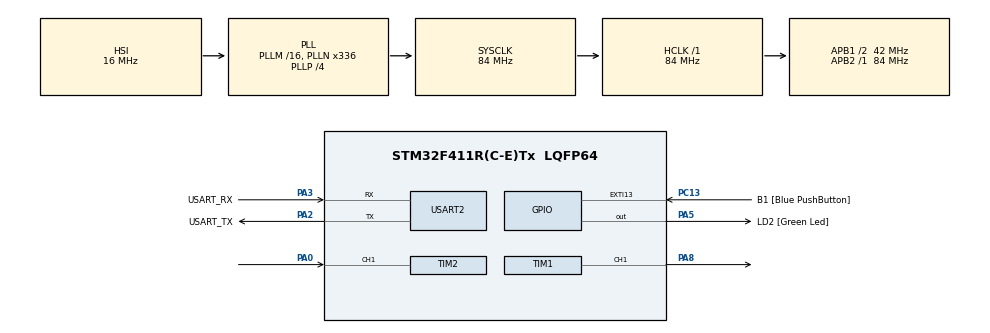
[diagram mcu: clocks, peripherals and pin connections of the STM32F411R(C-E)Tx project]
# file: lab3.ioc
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Dma.Request0=TIM2_CH1
Dma.TIM2_CH1.0.Direction=DMA_PERIPH_TO_MEMORY
Dma.TIM2_CH1.0.FIFOMode=DMA_FIFOMODE_DISABLE
Dma.TIM2_CH1.0.Instance=DMA1_Stream5
Dma.TIM2_CH1.0.MemDataAlignment=DMA_MDATAALIGN_WORD
Dma.TIM2_CH1.0.MemInc=DMA_MINC_ENABLE
Dma.TIM2_CH1.0.Mode=DMA_CIRCULAR
Dma.TIM2_CH1.0.PeriphDataAlignment=DMA_PDATAALIGN_WORD
Dma.TIM2_CH1.0.PeriphInc=DMA_PINC_DISABLE
Dma.TIM2_CH1.0.Priority=DMA_PRIORITY_LOW
Mcu.Family=STM32F4
Mcu.Name=STM32F411R(C-E)Tx
Mcu.Package=LQFP64
NVIC.DMA1_Stream5_IRQn=true\:0\:0\:false\:false\:true\:false\:true\:true
NVIC.PriorityGroup=NVIC_PRIORITYGROUP_0
PA0-WKUP.Signal=S_TIM2_CH1_ETR
PA13.GPIO_Label=TMS
PA13.Mode=Serial_Wire
PA13.Signal=SYS_JTMS-SWDIO
PA14.GPIO_Label=TCK
PA14.Mode=Serial_Wire
PA14.Signal=SYS_JTCK-SWCLK
PA2.GPIO_Label=USART_TX
PA2.Mode=Asynchronous
PA2.Signal=USART2_TX
PA3.GPIO_Label=USART_RX
PA3.Mode=Asynchronous
PA3.Signal=USART2_RX
PA5.GPIO_Label=LD2 [Green Led]
PA5.Signal=GPIO_Output
PA8.Signal=S_TIM1_CH1
PB3.GPIO_Label=SWO
PB3.Signal=SYS_JTDO-SWO
PC13-ANTI_TAMP.GPIO_Label=B1 [Blue PushButton]
PC13-ANTI_TAMP.GPIO_ModeDefaultEXTI=GPIO_MODE_IT_FALLING
PC13-ANTI_TAMP.Signal=GPXTI13
PC14-OSC32_IN.Mode=LSE-External-Oscillator
PC14-OSC32_IN.Signal=RCC_OSC32_IN
PC15-OSC32_OUT.Mode=LSE-External-Oscillator
PC15-OSC32_OUT.Signal=RCC_OSC32_OUT
PH0\ -\ OSC_IN.Mode=HSE-External-Clock-Source
PH0\ -\ OSC_IN.Signal=RCC_OSC_IN
PH1\ -\ OSC_OUT.Mode=HSE-External-Clock-Source
PH1\ -\ OSC_OUT.Signal=RCC_OSC_OUT
ProjectManager.HeapSize=0x200
ProjectManager.StackSize=0x400
ProjectManager.TargetToolchain=STM32CubeIDE
RCC.48MHZClocksFreq_Value=84000000
RCC.AHBFreq_Value=84000000
RCC.APB1CLKDivider=RCC_HCLK_DIV2
RCC.APB1Freq_Value=42000000
RCC.APB1TimFreq_Value=84000000
RCC.APB2Freq_Value=84000000
RCC.APB2TimFreq_Value=84000000
RCC.CortexFreq_Value=84000000
RCC.FLatency-AdvancedSettings=FLASH_LATENCY_2
RCC.HCLKFreq_Value=84000000
RCC.HSE_VALUE=8000000
RCC.HSI_VALUE=16000000
RCC.PLLN=336
RCC.PLLP=RCC_PLLP_DIV4
RCC.SYSCLKFreq_VALUE=84000000
RCC.SYSCLKSource=RCC_SYSCLKSOURCE_PLLCLK
RCC.VCOOutputFreq_Value=336000000
SH.S_TIM1_CH1.0=TIM1_CH1,PWM Generation1 CH1
SH.S_TIM2_CH1_ETR.0=TIM2_CH1,Input_Capture1_from_TI1
TIM1.Channel-PWM\ Generation1\ CH1=TIM_CHANNEL_1
TIM1.Period=999
TIM1.Prescaler=83
TIM1.Pulse-PWM\ Generation1\ CH1=0
TIM2.Channel-Input_Capture1_from_TI1=TIM_CHANNEL_1
TIM2.ICFilter_CH1=10
TIM2.Prescaler=83
USART2.VirtualMode=VM_ASYNC
VP_TIM1_VS_ClockSourceINT.Mode=Internal
VP_TIM2_VS_ClockSourceINT.Mode=Internal
board=NUCLEO-F411RE

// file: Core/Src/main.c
/* USER CODE BEGIN Header */
/**
  ******************************************************************************
  * @file           : main.c
  * @brief          : Main program body
  ******************************************************************************
  * @attention
  *
  * Copyright (c) 2023 STMicroelectronics.
  * All rights reserved.
  *
  * This software is licensed under terms that can be found in the LICENSE file
  * in the root directory of this software component.
  * If no LICENSE file comes with this software, it is provided AS-IS.
  *
  ******************************************************************************
  */
/* USER CODE END Header */
#include "main.h"

/* USER CODE BEGIN Includes */
// Napat Uraisomsurat
# define IC_BUFFER_SIZE 20
/* USER CODE END Includes */

TIM_HandleTypeDef htim1;
TIM_HandleTypeDef htim2;
DMA_HandleTypeDef hdma_tim2_ch1;

UART_HandleTypeDef huart2;

/* USER CODE BEGIN PV */
uint32_t InputCaptureBuffer[IC_BUFFER_SIZE];
float averageRisingedgePeriod;
float BeforeGearRatio;
float MotorReadRPM;
float microsectominute;

uint16_t MotorSetDuty = 50;
float CompareValue = 0;
float PreviousCompareValue = 0;

uint8_t MotorControlEnable = 0;
float MotorSetRPM = 0;
float Currenterror = 0;
float Previouserror = 0;

float Kp = 25; //4000 205 800
float Ki = 0.075; //0.05 60 17

float A;
float B;
/* USER CODE END PV */

void SystemClock_Config(void);
static void MX_GPIO_Init(void);
static void MX_DMA_Init(void);
static void MX_USART2_UART_Init(void);
static void MX_TIM2_Init(void);
static void MX_TIM1_Init(void);
/* USER CODE BEGIN PFP */
float IC_Calc_Period();
uint8_t CheckMotorControlEnable();
/* USER CODE END PFP */

int main(void)
{

  /* MCU Configuration--------------------------------------------------------*/

  /* Reset of all peripherals, Initializes the Flash interface and the Systick. */
  HAL_Init();

  /* Configure the system clock */
  SystemClock_Config();

  /* Initialize all configured peripherals */
  MX_GPIO_Init();
  MX_DMA_Init();
  MX_USART2_UART_Init();
  MX_TIM2_Init();
  MX_TIM1_Init();
  /* USER CODE BEGIN 2 */
  // timer2 - Input Capture
  HAL_TIM_Base_Start(&htim2);
  HAL_TIM_IC_Start_DMA(&htim2, TIM_CHANNEL_1, InputCaptureBuffer, IC_BUFFER_SIZE);

  // timer1 - Output Compare
  HAL_TIM_Base_Start(&htim1);
  HAL_TIM_PWM_Start(&htim1, TIM_CHANNEL_1);
  /* USER CODE END 2 */

  /* Infinite loop */
  while (1)
  {

    /* USER CODE BEGIN 3 */
	  static uint32_t timestamp = 0;
	  if(HAL_GetTick() >= timestamp){
		  timestamp = HAL_GetTick() + 5; // 200 Hz
		  averageRisingedgePeriod = IC_Calc_Period();

		  // (2) MotorReadPWM 1 microsec * (1 s / 10^6 microsec) * (1 min / 60 s) = 1 / (60 * 10^6)
		  microsectominute = averageRisingedgePeriod/60000000;
		  BeforeGearRatio = 1/(12*microsectominute); // 1/12 round per time in minute
		  MotorReadRPM = BeforeGearRatio/64; // gear ratio 1:64

		  if(averageRisingedgePeriod == 0) MotorReadRPM = 0;

		  // (3)
		  CheckMotorControlEnable();
	  }
  }
  /* USER CODE END 3 */
}

void SystemClock_Config(void)
{
  RCC_OscInitTypeDef RCC_OscInitStruct = {0};
  RCC_ClkInitTypeDef RCC_ClkInitStruct = {0};

  /** Configure the main internal regulator output voltage
  */
  __HAL_RCC_PWR_CLK_ENABLE();
  __HAL_PWR_VOLTAGESCALING_CONFIG(PWR_REGULATOR_VOLTAGE_SCALE1);

  /** Initializes the RCC Oscillators according to the specified parameters
  * in the RCC_OscInitTypeDef structure.
  */
  RCC_OscInitStruct.OscillatorType = RCC_OSCILLATORTYPE_HSI;
  RCC_OscInitStruct.HSIState = RCC_HSI_ON;
  RCC_OscInitStruct.HSICalibrationValue = RCC_HSICALIBRATION_DEFAULT;
  RCC_OscInitStruct.PLL.PLLState = RCC_PLL_ON;
  RCC_OscInitStruct.PLL.PLLSource = RCC_PLLSOURCE_HSI;
  RCC_OscInitStruct.PLL.PLLM = 16;
  RCC_OscInitStruct.PLL.PLLN = 336;
  RCC_OscInitStruct.PLL.PLLP = RCC_PLLP_DIV4;
  RCC_OscInitStruct.PLL.PLLQ = 4;
  if (HAL_RCC_OscConfig(&RCC_OscInitStruct) != HAL_OK)
  {
    Error_Handler();
  }

  /** Initializes the CPU, AHB and APB buses clocks
  */
  RCC_ClkInitStruct.ClockType = RCC_CLOCKTYPE_HCLK|RCC_CLOCKTYPE_SYSCLK
                              |RCC_CLOCKTYPE_PCLK1|RCC_CLOCKTYPE_PCLK2;
  RCC_ClkInitStruct.SYSCLKSource = RCC_SYSCLKSOURCE_PLLCLK;
  RCC_ClkInitStruct.AHBCLKDivider = RCC_SYSCLK_DIV1;
  RCC_ClkInitStruct.APB1CLKDivider = RCC_HCLK_DIV2;
  RCC_ClkInitStruct.APB2CLKDivider = RCC_HCLK_DIV1;

  if (HAL_RCC_ClockConfig(&RCC_ClkInitStruct, FLASH_LATENCY_2) != HAL_OK)
  {
    Error_Handler();
  }
}

static void MX_TIM1_Init(void)
{

  TIM_ClockConfigTypeDef sClockSourceConfig = {0};
  TIM_MasterConfigTypeDef sMasterConfig = {0};
  TIM_OC_InitTypeDef sConfigOC = {0};
  TIM_BreakDeadTimeConfigTypeDef sBreakDeadTimeConfig = {0};

  htim1.Instance = TIM1;
  htim1.Init.Prescaler = 83;
  htim1.Init.CounterMode = TIM_COUNTERMODE_UP;
  htim1.Init.Period = 999;
  htim1.Init.ClockDivision = TIM_CLOCKDIVISION_DIV1;
  htim1.Init.RepetitionCounter = 0;
  htim1.Init.AutoReloadPreload = TIM_AUTORELOAD_PRELOAD_DISABLE;
  if (HAL_TIM_Base_Init(&htim1) != HAL_OK)
  {
    Error_Handler();
  }
  sClockSourceConfig.ClockSource = TIM_CLOCKSOURCE_INTERNAL;
  if (HAL_TIM_ConfigClockSource(&htim1, &sClockSourceConfig) != HAL_OK)
  {
    Error_Handler();
  }
  if (HAL_TIM_PWM_Init(&htim1) != HAL_OK)
  {
    Error_Handler();
  }
  sMasterConfig.MasterOutputTrigger = TIM_TRGO_RESET;
  sMasterConfig.MasterSlaveMode = TIM_MASTERSLAVEMODE_DISABLE;
  if (HAL_TIMEx_MasterConfigSynchronization(&htim1, &sMasterConfig) != HAL_OK)
  {
    Error_Handler();
  }
  sConfigOC.OCMode = TIM_OCMODE_PWM1;
  sConfigOC.Pulse = 0;
  sConfigOC.OCPolarity = TIM_OCPOLARITY_HIGH;
  sConfigOC.OCNPolarity = TIM_OCNPOLARITY_HIGH;
  sConfigOC.OCFastMode = TIM_OCFAST_DISABLE;
  sConfigOC.OCIdleState = TIM_OCIDLESTATE_RESET;
  sConfigOC.OCNIdleState = TIM_OCNIDLESTATE_RESET;
  if (HAL_TIM_PWM_ConfigChannel(&htim1, &sConfigOC, TIM_CHANNEL_1) != HAL_OK)
  {
    Error_Handler();
  }
  sBreakDeadTimeConfig.OffStateRunMode = TIM_OSSR_DISABLE;
  sBreakDeadTimeConfig.OffStateIDLEMode = TIM_OSSI_DISABLE;
  sBreakDeadTimeConfig.LockLevel = TIM_LOCKLEVEL_OFF;
  sBreakDeadTimeConfig.DeadTime = 0;
  sBreakDeadTimeConfig.BreakState = TIM_BREAK_DISABLE;
  sBreakDeadTimeConfig.BreakPolarity = TIM_BREAKPOLARITY_HIGH;
  sBreakDeadTimeConfig.AutomaticOutput = TIM_AUTOMATICOUTPUT_DISABLE;
  if (HAL_TIMEx_ConfigBreakDeadTime(&htim1, &sBreakDeadTimeConfig) != HAL_OK)
  {
    Error_Handler();
  }
  HAL_TIM_MspPostInit(&htim1);

}

static void MX_TIM2_Init(void)
{

  TIM_ClockConfigTypeDef sClockSourceConfig = {0};
  TIM_MasterConfigTypeDef sMasterConfig = {0};
  TIM_IC_InitTypeDef sConfigIC = {0};

  htim2.Instance = TIM2;
  htim2.Init.Prescaler = 83;
  htim2.Init.CounterMode = TIM_COUNTERMODE_UP;
  htim2.Init.Period = 4294967295;
  htim2.Init.ClockDivision = TIM_CLOCKDIVISION_DIV1;
  htim2.Init.AutoReloadPreload = TIM_AUTORELOAD_PRELOAD_DISABLE;
  if (HAL_TIM_Base_Init(&htim2) != HAL_OK)
  {
    Error_Handler();
  }
  sClockSourceConfig.ClockSource = TIM_CLOCKSOURCE_INTERNAL;
  if (HAL_TIM_ConfigClockSource(&htim2, &sClockSourceConfig) != HAL_OK)
  {
    Error_Handler();
  }
  if (HAL_TIM_IC_Init(&htim2) != HAL_OK)
  {
    Error_Handler();
  }
  sMasterConfig.MasterOutputTrigger = TIM_TRGO_RESET;
  sMasterConfig.MasterSlaveMode = TIM_MASTERSLAVEMODE_DISABLE;
  if (HAL_TIMEx_MasterConfigSynchronization(&htim2, &sMasterConfig) != HAL_OK)
  {
    Error_Handler();
  }
  sConfigIC.ICPolarity = TIM_INPUTCHANNELPOLARITY_RISING;
  sConfigIC.ICSelection = TIM_ICSELECTION_DIRECTTI;
  sConfigIC.ICPrescaler = TIM_ICPSC_DIV1;
  sConfigIC.ICFilter = 10;
  if (HAL_TIM_IC_ConfigChannel(&htim2, &sConfigIC, TIM_CHANNEL_1) != HAL_OK)
  {
    Error_Handler();
  }

}

static void MX_USART2_UART_Init(void)
{

  huart2.Instance = USART2;
  huart2.Init.BaudRate = 115200;
  huart2.Init.WordLength = UART_WORDLENGTH_8B;
  huart2.Init.StopBits = UART_STOPBITS_1;
  huart2.Init.Parity = UART_PARITY_NONE;
  huart2.Init.Mode = UART_MODE_TX_RX;
  huart2.Init.HwFlowCtl = UART_HWCONTROL_NONE;
  huart2.Init.OverSampling = UART_OVERSAMPLING_16;
  if (HAL_UART_Init(&huart2) != HAL_OK)
  {
    Error_Handler();
  }

}

static void MX_DMA_Init(void)
{

  /* DMA controller clock enable */
  __HAL_RCC_DMA1_CLK_ENABLE();

  /* DMA interrupt init */
  /* DMA1_Stream5_IRQn interrupt configuration */
  HAL_NVIC_SetPriority(DMA1_Stream5_IRQn, 0, 0);
  HAL_NVIC_EnableIRQ(DMA1_Stream5_IRQn);

}

static void MX_GPIO_Init(void)
{
  GPIO_InitTypeDef GPIO_InitStruct = {0};

  /* GPIO Ports Clock Enable */
  __HAL_RCC_GPIOC_CLK_ENABLE();
  __HAL_RCC_GPIOH_CLK_ENABLE();
  __HAL_RCC_GPIOA_CLK_ENABLE();
  __HAL_RCC_GPIOB_CLK_ENABLE();

  /*Configure GPIO pin Output Level */
  HAL_GPIO_WritePin(LD2_GPIO_Port, LD2_Pin, GPIO_PIN_RESET);

  /*Configure GPIO pin : B1_Pin */
  GPIO_InitStruct.Pin = B1_Pin;
  GPIO_InitStruct.Mode = GPIO_MODE_IT_FALLING;
  GPIO_InitStruct.Pull = GPIO_NOPULL;
  HAL_GPIO_Init(B1_GPIO_Port, &GPIO_InitStruct);

  /*Configure GPIO pin : LD2_Pin */
  GPIO_InitStruct.Pin = LD2_Pin;
  GPIO_InitStruct.Mode = GPIO_MODE_OUTPUT_PP;
  GPIO_InitStruct.Pull = GPIO_NOPULL;
  GPIO_InitStruct.Speed = GPIO_SPEED_FREQ_LOW;
  HAL_GPIO_Init(LD2_GPIO_Port, &GPIO_InitStruct);

}

/* USER CODE BEGIN 4 */

float IC_Calc_Period(){
	uint32_t currentDMAPointer = IC_BUFFER_SIZE - __HAL_DMA_GET_COUNTER(htim2.hdma[1]);
	uint32_t lastValidDMAPointer = (currentDMAPointer - 1 + IC_BUFFER_SIZE)%IC_BUFFER_SIZE;
	uint32_t i = (lastValidDMAPointer + IC_BUFFER_SIZE - 5)%IC_BUFFER_SIZE;
	uint32_t sumdiff = 0;

	while(i != lastValidDMAPointer){
		uint32_t firstCapture = InputCaptureBuffer[i];
		uint32_t NextCapture = InputCaptureBuffer[(i+1)%IC_BUFFER_SIZE];
		sumdiff += NextCapture - firstCapture;
		i = (i+1)%IC_BUFFER_SIZE;
	}
	return sumdiff/5.0;
}

uint8_t CheckMotorControlEnable(){
	switch(MotorControlEnable)
	{
	case(1):
		  // Velocity Form Algorithm PID
		  Currenterror = MotorSetRPM - MotorReadRPM;
		  A = (Kp*(Previouserror - Currenterror));
		  B = (Ki*Currenterror);
		  CompareValue = PreviousCompareValue + (Kp*(Previouserror - Currenterror)) + (Ki*Currenterror);
		  if(CompareValue > 1000.0){
			  CompareValue = 1000.0;
		  }
		  else if(CompareValue < 0.0){
			  CompareValue = 0.0;
		  }
		  __HAL_TIM_SET_COMPARE(&htim1, TIM_CHANNEL_1,(uint16_t)CompareValue); // change reference output compare
		  Previouserror = Currenterror;
		  PreviousCompareValue = CompareValue;
		  break;

	case(0):
		  // (1) PWM Duty Cycle
		  // counter period 1000 but input 0 - 100
		  CompareValue = MotorSetDuty*10;
		  __HAL_TIM_SET_COMPARE(&htim1, TIM_CHANNEL_1,CompareValue); // change reference output compare
		  break;
	}
}

/* USER CODE END 4 */

void Error_Handler(void)
{
  __disable_irq();
  while (1)
  {
  }
}
